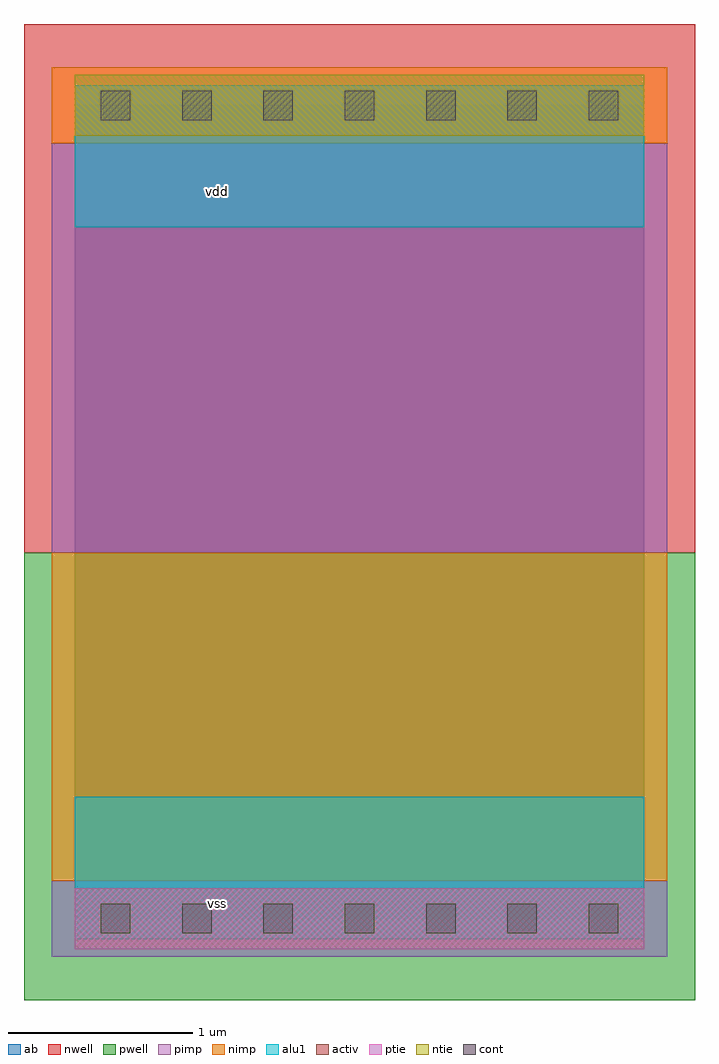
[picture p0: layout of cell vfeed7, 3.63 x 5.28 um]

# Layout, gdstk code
import gdstk
lib = gdstk.Library(unit=1e-6, precision=2.5e-09)
def R(c, l, rs):  # rectangles x0, y0, x1, y1
    for r in rs: c.add(gdstk.rectangle(r[:2], r[2:], *l))
def A(c, l, x, y, w, h, nx, ny, dx, dy):  # array of equal rectangles
    R(c, l, [(x+i*dx, y+j*dy, x+i*dx+w, y+j*dy+h) for i in range(nx) for j in range(ny)])
ntie = (5, 0)
ptie = (6, 0)
cont = (25, 0)
pwell = (41, 0)
nwell = (42, 0)
activ = (43, 0)
pimp = (44, 0)
nimp = (45, 0)
alu1 = (49, 0)
ab = (63, 0)

vfeed7 = lib.new_cell('vfeed7')
R(vfeed7, ntie, [(0,4.235,3.08,4.565)])
R(vfeed7, ptie, [(0,-0.165,3.08,0.165)])
A(vfeed7, cont, 0.14, -0.08, 0.16, 0.16, 7, 2, 0.44, 4.4)
R(vfeed7, pwell, [(-0.275,-0.44,3.355,1.98)])
R(vfeed7, nwell, [(-0.275,1.98,3.355,4.84)])
R(vfeed7, activ, [(0,-0.165,3.08,0.165), (0,4.235,3.08,4.565)])
R(vfeed7, pimp, [(-0.125,-0.205,3.205,0.205), (-0.125,1.98,3.205,4.195)])
R(vfeed7, nimp, [(-0.125,0.205,3.205,1.98), (-0.125,4.195,3.205,4.605)])
R(vfeed7, alu1, [(0,-0.11,3.08,0.66), (0,3.74,3.08,4.51)])
R(vfeed7, ab, [(0,0,3.08,4.4)])
vfeed7.add(gdstk.Label('vss', (0.77,0.0825), layer=49, texttype=0))
vfeed7.add(gdstk.Label('vdd', (0.77,3.9325), layer=49, texttype=0))

lib.write_gds('vfeed7.gds')
